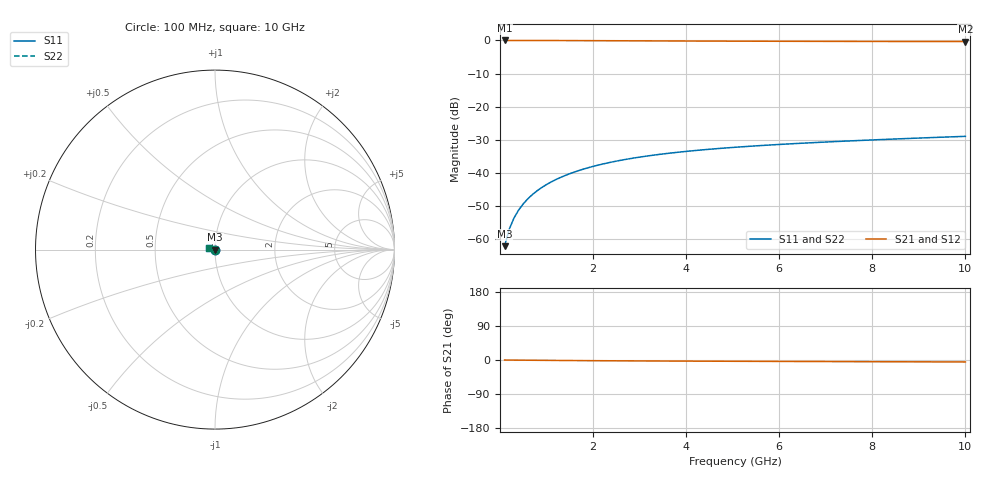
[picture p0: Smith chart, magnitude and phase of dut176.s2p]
! Touchstone file exported from HFSS 2024.1.0
!  File:  C:/UserFiles/LocalFiles/RDL_TSV_Batchsim/temp_TSV1_176_1779383739.aedt
!  Generated:  01:21:50 AM May 22, 2026
!  Design:  TSV1
!  Project:  temp_TSV1_176_1779383739
!  Setup:  Setup1
!  Solution:  Sweep
! Variables:
!  dtsv = 5.86um
!  hbump = 3um
!  htsv = 79.76um
!  lrdl = 252.1521522um
!  p = 40
!  p1 = 40.64um
!  t = 500um
!  trdl = 3um
!  wrdl = 24.89489489um
# GHz S MA R 50.000000
! Terminal data exported
! Port[1] = TSV22_T1
! Port[2] = TSV22_T2
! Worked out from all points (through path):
!   100 points, 100 MHz to 10 GHz, reference 50 ohm
!   highest |S21| = 0.00 dB at 100 MHz (marker M1); lowest = -0.3 dB at 10 GHz (marker M2)
!   lowest |S11| = -62.1 dB at 100 MHz (marker M3), VSWR 1.00, Z = 50 - j0.068 ohm
!   |S11| at or under -10 dB: start of sweep to end of sweep
!   |S22| runs from -62.1 to -29.0 dB; largest |S21 - S12| = 4e-15
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0.1  0.0007837 -60.1  0.9996 -0.1  0.9996 -0.1  0.0007837 -60.1
! Gamma 0 0 0 0
! Port Impedance 50 0 50 0
0.2  0.001415 -76.3  0.9995 -0.2  0.9995 -0.2  0.001415 -76.3
0.3  0.002076 -83.7  0.9994 -0.3  0.9994 -0.3  0.002076 -83.7
0.4  0.002742 -88.3  0.9992 -0.4  0.9992 -0.4  0.002742 -88.3
0.5  0.003409 -91.8  0.999 -0.5  0.999 -0.5  0.003409 -91.8
0.6  0.004072 -94.8  0.9988 -0.6  0.9988 -0.6  0.004072 -94.8
0.7  0.004731 -97.4  0.9985 -0.7  0.9985 -0.7  0.004731 -97.4
0.8  0.005385 -99.8  0.9982 -0.8  0.9982 -0.8  0.005385 -99.8
0.9  0.006032 -102.0  0.9979 -0.9  0.9979 -0.9  0.006032 -102.0
1.1  0.007302 -106.1  0.9971 -1.0  0.9971 -1.0  0.007302 -106.1
1.4  0.009141 -111.9  0.9957 -1.3  0.9957 -1.3  0.009141 -111.9
1.6  0.01032 -115.5  0.9946 -1.5  0.9946 -1.5  0.01032 -115.5
1.8  0.01145 -118.9  0.9935 -1.6  0.9935 -1.6  0.01145 -118.9
2.1  0.01307 -123.8  0.9918 -1.8  0.9918 -1.8  0.01307 -123.8
2.5  0.01506 -130.0  0.9893 -2.1  0.9893 -2.1  0.01506 -130.0
2.9  0.01689 -135.8  0.9868 -2.4  0.9868 -2.4  0.01689 -135.8
3.4  0.01894 -142.5  0.9838 -2.6  0.9838 -2.6  0.01894 -142.5
4.2  0.0218 -152.1  0.9793 -3.0  0.9793 -3.0  0.0218 -152.1
5.1  0.02452 -161.5  0.9751 -3.4  0.9751 -3.4  0.02452 -161.5
6.7  0.02858 -175.5  0.9692 -4.0  0.9692 -4.0  0.02858 -175.5
8.4  0.03233 172.5  0.9649 -4.6  0.9649 -4.6  0.03233 172.5
10  0.03566 163.2  0.962 -5.2  0.962 -5.2  0.03566 163.2
